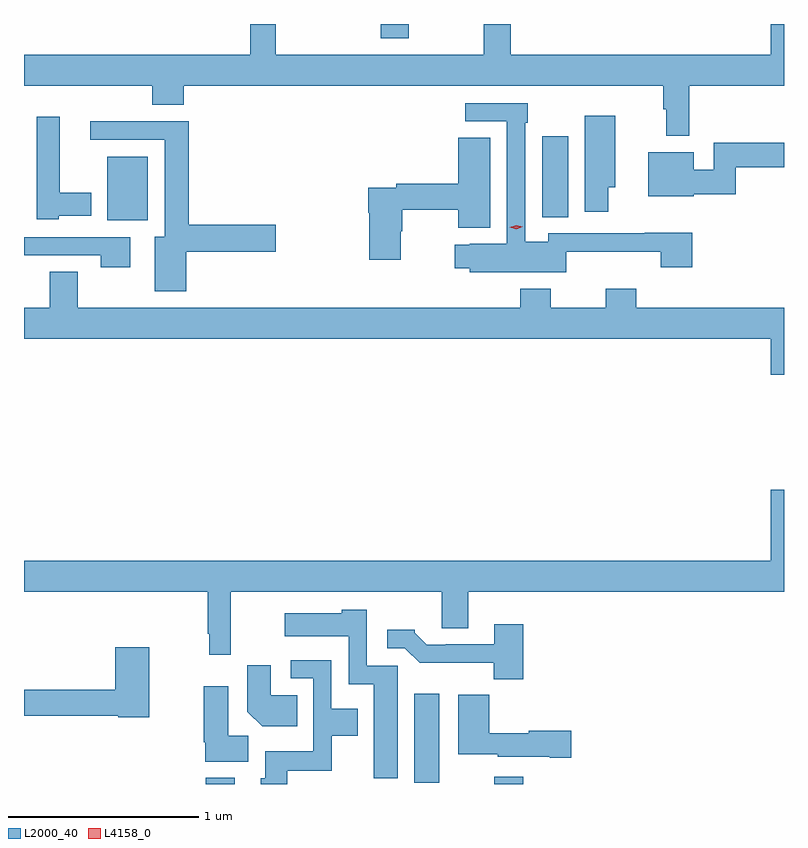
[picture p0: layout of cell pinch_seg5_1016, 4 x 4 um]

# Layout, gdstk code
import gdstk
lib = gdstk.Library(unit=1e-6, precision=1e-09)
def R(c, l, rs):  # rectangles x0, y0, x1, y1
    for r in rs: c.add(gdstk.rectangle(r[:2], r[2:], *l))
def P(c, l, *ps):  # polygons
    for p in ps: c.add(gdstk.Polygon(p, *l))
L2000_40 = (2000, 40)
L4158_0 = (4158, 0)

pinch_seg5_1016 = lib.new_cell('pinch_seg5_1016')
R(pinch_seg5_1016, L2000_40, [(641.555,835.769,641.707,835.801), (643.073,835.769,643.226,835.807), (642.653,835.776,642.784,836.245), (641.036,838.736,641.248,839.071), (643.325,838.753,643.462,839.179), (642.476,839.694,642.624,839.769)])
P(pinch_seg5_1016, L2000_40, [(644.099,839.444),(644.598,839.444),(644.598,839.769),(644.528,839.769),(644.528,839.608),(643.159,839.608),(643.159,839.769),(643.019,839.769),(643.019,839.608),(641.924,839.608),(641.924,839.769),(641.788,839.769),(641.788,839.608),(640.598,839.608),(640.598,839.444),(641.273,839.444),(641.273,839.345),(641.438,839.345),(641.438,839.444),(643.963,839.444),(643.963,839.321),(643.978,839.321),(643.978,839.181),(644.099,839.181)],
  [(643.452,838.571),(643.949,838.571),(643.949,838.488),(644.114,838.488),(644.114,838.67),(643.865,838.67),(643.865,838.668),(643.356,838.668),(643.356,838.624),(643.236,838.624),(643.236,839.249),(643.249,839.249),(643.249,839.352),(642.921,839.352),(642.921,839.256),(643.14,839.256),(643.14,838.612),(642.945,838.612),(642.945,838.606),(642.866,838.606),(642.866,838.484),(642.945,838.484),(642.945,838.463),(643.452,838.463)],
  [(643.672,838.91),(643.711,838.91),(643.711,839.287),(643.55,839.287),(643.55,838.782),(643.672,838.782)],
  [(640.782,838.76),(640.951,838.76),(640.951,838.882),(640.786,838.882),(640.786,839.281),(640.664,839.281),(640.664,838.742),(640.782,838.742)],
  [(641.452,838.57),(641.923,838.57),(641.923,838.712),(641.465,838.712),(641.465,839.258),(640.947,839.258),(640.947,839.16),(641.339,839.16),(641.339,838.648),(641.285,838.648),(641.285,838.362),(641.452,838.362)],
  [(642.58,838.677),(642.588,838.677),(642.588,838.792),(642.884,838.792),(642.884,838.697),(643.051,838.697),(643.051,839.171),(642.884,839.171),(642.884,838.928),(642.556,838.928),(642.556,838.908),(642.41,838.908),(642.41,838.775),(642.415,838.775),(642.415,838.527),(642.58,838.527)],
  [(644.122,838.873),(644.345,838.873),(644.345,839.014),(644.598,839.014),(644.598,839.143),(644.229,839.143),(644.229,839.002),(644.122,839.002),(644.122,839.095),(643.883,839.095),(643.883,838.862),(644.122,838.862)],
  [(641.158,838.647),(640.598,838.647),(640.598,838.551),(641.002,838.551),(641.002,838.488),(641.158,838.488)],
  [(644.598,838.276),(643.82,838.276),(643.82,838.375),(643.66,838.375),(643.66,838.276),(643.371,838.276),(643.371,838.375),(643.211,838.375),(643.211,838.276),(640.881,838.276),(640.881,838.466),(640.733,838.466),(640.733,838.276),(640.598,838.276),(640.598,838.112),(644.528,838.112),(644.528,837.924),(644.598,837.924)],
  [(641.687,836.78),(642.797,836.78),(642.797,836.59),(642.937,836.59),(642.937,836.78),(644.598,836.78),(644.598,837.319),(644.528,837.319),(644.528,836.944),(640.598,836.944),(640.598,836.78),(641.566,836.78),(641.566,836.56),(641.574,836.56),(641.574,836.448),(641.687,836.448)],
  [(642.565,836.391),(642.402,836.391),(642.402,836.686),(642.27,836.686),(642.27,836.668),(641.97,836.668),(641.97,836.546),(642.306,836.546),(642.306,836.294),(642.44,836.294),(642.44,835.8),(642.565,835.8)],
  [(643.226,836.611),(643.073,836.611),(643.073,836.505),(642.817,836.505),(642.817,836.502),(642.718,836.502),(642.654,836.566),(642.654,836.581),(642.51,836.581),(642.51,836.484),(642.603,836.484),(642.682,836.406),(643.071,836.406),(643.071,836.321),(643.226,836.321)],
  [(641.256,836.488),(641.078,836.488),(641.078,836.264),(640.598,836.264),(640.598,836.128),(641.094,836.128),(641.094,836.12),(641.256,836.12)],
  [(641.983,835.838),(642.219,835.838),(642.219,836.024),(642.355,836.024),(642.355,836.164),(642.216,836.164),(642.216,836.421),(642.003,836.421),(642.003,836.325),(642.12,836.325),(642.12,835.942),(641.867,835.942),(641.867,835.8),(641.843,835.8),(641.843,835.769),(641.983,835.769)],
  [(642.035,836.236),(641.896,836.236),(641.896,836.395),(641.774,836.395),(641.774,836.15),(641.852,836.072),(642.035,836.072)],
  [(641.779,836.024),(641.674,836.024),(641.674,836.284),(641.545,836.284),(641.545,835.99),(641.552,835.99),(641.552,835.886),(641.779,835.886)],
  [(643.477,836.048),(643.254,836.048),(643.254,836.035),(643.046,836.035),(643.046,836.239),(642.884,836.239),(642.884,835.925),(643.092,835.925),(643.092,835.913),(643.364,835.913),(643.364,835.906),(643.477,835.906)])
P(pinch_seg5_1016, L4158_0, [(643.189,838.69),(643.154,838.699),(643.153,838.699),(643.154,838.699),(643.188,838.71),(643.223,838.702),(643.223,838.701),(643.223,838.701)])

lib.write_gds('pinch_seg5_1016.gds')
